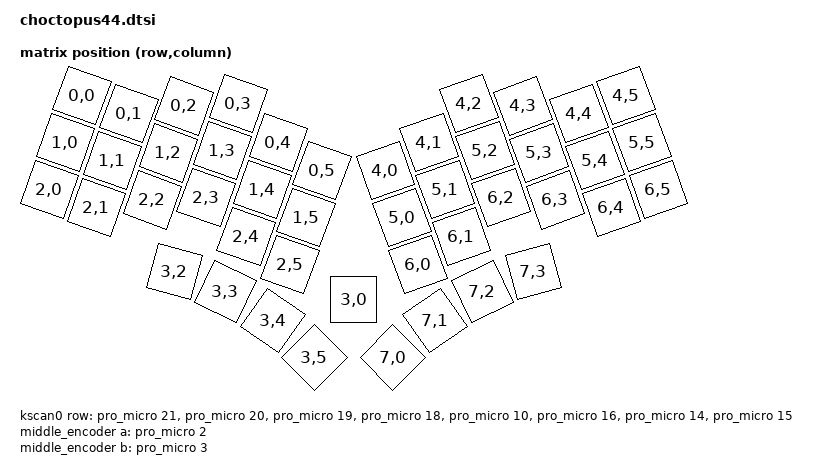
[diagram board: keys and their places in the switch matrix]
/*
 * Copyright (c) 2021 The ZMK Contributors
 *
 * SPDX-License-Identifier: MIT
 */
#include <dt-bindings/zmk/matrix_transform.h>
#include <physical_layouts.dtsi>

/ {
    chosen {
        zmk,kscan = &kscan0;
        zmk,physical-layout = &choctopus44_layout;
        zmk,battery = &vbatt;
    };

    choctopus44_layout: choctopus44_layout {
        compatible = "zmk,physical-layout";
        display-name = "Choctopus44";
        transform = <&default_transform>;
        kscan = <&kscan0>;
        
       keys  //                     w   h    x    y     rot    rx    ry
            = <&key_physical_attrs 100 100   79  14    2000  129  64>
            , <&key_physical_attrs 100 100  173  50    2000  223 100>
            , <&key_physical_attrs 100 100  284  35    2000  334  85>
            , <&key_physical_attrs 100 100  392  30    2000  442  80>
            , <&key_physical_attrs 100 100  472 108    2000  522 158>
            , <&key_physical_attrs 100 100  559 164    2000  609 214>
            , <&key_physical_attrs 100 100  686 164 (-2000)  736 214>
            , <&key_physical_attrs 100 100  774 108 (-2000)  824 158>
            , <&key_physical_attrs 100 100  853  30 (-2000)  903  80>
            , <&key_physical_attrs 100 100  961  35 (-2000) 1011  85>
            , <&key_physical_attrs 100 100 1073  50 (-2000) 1123 100>
            , <&key_physical_attrs 100 100 1167  14 (-2000) 1217  64>
            , <&key_physical_attrs 100 100   46 108    2000   96 158>
            , <&key_physical_attrs 100 100  140 144    2000  190 194>
            , <&key_physical_attrs 100 100  252 129    2000  302 179>
            , <&key_physical_attrs 100 100  360 124    2000  410 174>
            , <&key_physical_attrs 100 100  440 202    2000  490 252>
            , <&key_physical_attrs 100 100  527 258    2000  577 308>
            , <&key_physical_attrs 100 100  719 258 (-2000)  769 308>
            , <&key_physical_attrs 100 100  806 202 (-2000)  856 252>
            , <&key_physical_attrs 100 100  886 124 (-2000)  936 174>
            , <&key_physical_attrs 100 100  994 129 (-2000) 1044 179>
            , <&key_physical_attrs 100 100 1105 144 (-2000) 1155 194>
            , <&key_physical_attrs 100 100 1199 108 (-2000) 1249 158>
            , <&key_physical_attrs 100 100   14 202    2000   64 252>
            , <&key_physical_attrs 100 100  108 238    2000  158 288>
            , <&key_physical_attrs 100 100  220 223    2000  270 273>
            , <&key_physical_attrs 100 100  328 218    2000  378 268>
            , <&key_physical_attrs 100 100  408 296    2000  458 346>
            , <&key_physical_attrs 100 100  495 352    2000  545 402>
            , <&key_physical_attrs 100 100  623 423       0    0   0>
            , <&key_physical_attrs 100 100  751 352 (-2000)  801 402>
            , <&key_physical_attrs 100 100  838 296 (-2000)  888 346>
            , <&key_physical_attrs 100 100  918 218 (-2000)  968 268>
            , <&key_physical_attrs 100 100 1026 223 (-2000) 1076 273>
            , <&key_physical_attrs 100 100 1138 238 (-2000) 1188 288>
            , <&key_physical_attrs 100 100 1232 202 (-2000) 1282 252>
            , <&key_physical_attrs 100 100  264 366    1500  314 416>
            , <&key_physical_attrs 100 100  366 406    2500  416 456>
            , <&key_physical_attrs 100 100  461 464    3500  511 514>
            , <&key_physical_attrs 100 100  544 538    4500  594 588>
            , <&key_physical_attrs 100 100  701 538 (-4500)  751 588>
            , <&key_physical_attrs 100 100  785 464 (-3500)  835 514>
            , <&key_physical_attrs 100 100  880 406 (-2500)  930 456>
            , <&key_physical_attrs 100 100  982 366 (-1500) 1032 416>
            ;
    };

    default_transform: keymap_transform_0 {
        compatible = "zmk,matrix-transform";
        columns = <6>;
        rows = <8>;
        map = <
RC(0,0) RC(0,1) RC(0,2) RC(0,3) RC(0,4) RC(0,5)         RC(4,0) RC(4,1) RC(4,2) RC(4,3) RC(4,4) RC(4,5)
RC(1,0) RC(1,1) RC(1,2) RC(1,3) RC(1,4) RC(1,5)         RC(5,0) RC(5,1) RC(5,2) RC(5,3) RC(5,4) RC(5,5)
RC(2,0) RC(2,1) RC(2,2) RC(2,3) RC(2,4) RC(2,5) RC(3,0) RC(6,0) RC(6,1) RC(6,2) RC(6,3) RC(6,4) RC(6,5)
                RC(3,2) RC(3,3) RC(3,4) RC(3,5)         RC(7,0) RC(7,1) RC(7,2) RC(7,3)
        >;
    };

    kscan0: kscan_0 {
        compatible = "zmk,kscan-gpio-matrix";
        label = "KSCAN";
        diode-direction = "col2row";
        wakeup-source;
        row-gpios
            = <&pro_micro 21 (GPIO_ACTIVE_HIGH | GPIO_PULL_DOWN)>
            , <&pro_micro 20 (GPIO_ACTIVE_HIGH | GPIO_PULL_DOWN)>
            , <&pro_micro 19 (GPIO_ACTIVE_HIGH | GPIO_PULL_DOWN)>
            , <&pro_micro 18 (GPIO_ACTIVE_HIGH | GPIO_PULL_DOWN)>
            , <&pro_micro 10 (GPIO_ACTIVE_HIGH | GPIO_PULL_DOWN)>
            , <&pro_micro 16 (GPIO_ACTIVE_HIGH | GPIO_PULL_DOWN)>
            , <&pro_micro 14 (GPIO_ACTIVE_HIGH | GPIO_PULL_DOWN)>
            , <&pro_micro 15 (GPIO_ACTIVE_HIGH | GPIO_PULL_DOWN)>
            ;
    };

    middle_encoder: encoder_middle {
        compatible = "alps,ec11";
        label = "MIDDLE_ENCODER";
        a-gpios = <&pro_micro 2 (GPIO_ACTIVE_HIGH | GPIO_PULL_UP)>;
        b-gpios = <&pro_micro 3 (GPIO_ACTIVE_HIGH | GPIO_PULL_UP)>;
        steps = <20>;
        status = "okay";
    };

    sensors {
        compatible = "zmk,keymap-sensors";
        sensors = <&middle_encoder>;
        triggers-per-rotation = <20>;
    };

    vbatt: vbatt {
        compatible = "zmk,battery-nrf-vddh";
        label = "VBATT";
    };
};
